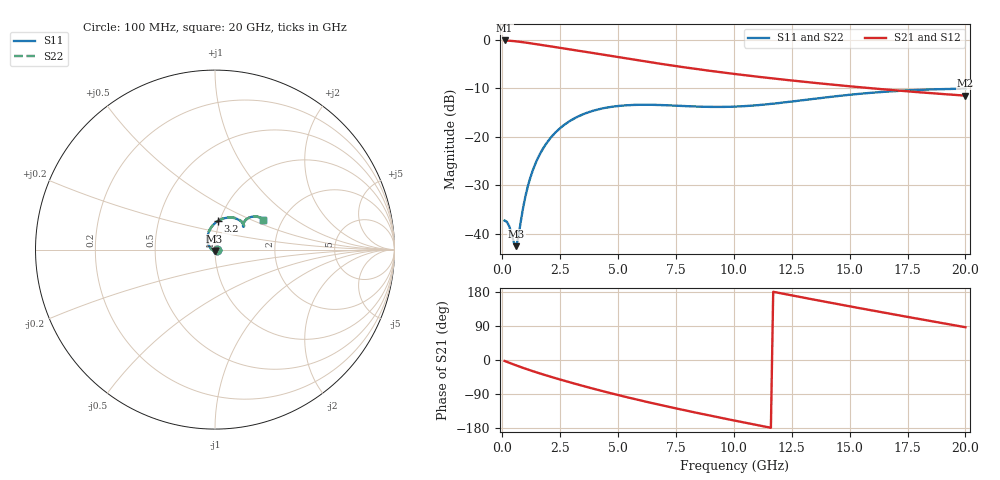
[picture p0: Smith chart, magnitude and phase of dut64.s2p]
! Touchstone file exported from HFSS 2023.1.0
!  File:  D:/Users/fzz/RDL_TSV/temp_RDL_TSV_64_1778746323.aedt
!  Generated:  4:30:09 %x4E0B%x5348  5%x6708 14, 2026
!  Design:  RDL_TSV
!  Project:  temp_RDL_TSV_64_1778746323
!  Setup:  Setup1
!  Solution:  Sweep
! Variables:
!  dtsv = 21.89um
!  hbump = 3um
!  htsv = 52.66um
!  ldown = 647.79um
!  lrdl = 534.51um
!  p = 40
!  p1 = 52.58um
!  rhole = 10um
!  subl = 4081.41um
!  t = 450um
!  tdown = 4.42um
!  trdl = 4.94um
!  viad = 10um
!  wdown = 22.42um
!  wrdl = 23.59um
!  xbump = 18um
# GHz S MA R 50.000000
! Terminal data exported
! Port[1] = TM1_1_T1
! Port[2] = TM1_4_T1
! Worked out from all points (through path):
!   200 points, 100 MHz to 20 GHz, reference 50 ohm
!   highest |S21| = -0.13 dB at 100 MHz (marker M1); lowest = -11.5 dB at 20 GHz (marker M2)
!   group delay of S21, straight-line fit = 36.2 ps
!   lowest |S11| = -42.6 dB at 600 MHz (marker M3), VSWR 1.01, Z = 49.8 - j0.704 ohm
!   |S11| at or under -10 dB: start of sweep to end of sweep
!   |S22| runs from -42.6 to -10.0 dB; largest |S21 - S12| = 1.6e-14
!   S11 on the Smith chart (normalised r, x): 100 MHz: 1.03, -0.00; 3.2 GHz: 0.98, +0.32; 20 GHz: 1.59, +0.59
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0.1  0.01362 -6.2  0.9853 -2.5  0.9853 -2.5  0.01362 -6.2
! Gamma 0 0 0 0
! Port Impedance 50 0 50 0
0.3  0.01192 -27.7  0.9791 -7.3  0.9791 -7.3  0.0119 -27.8
0.5  0.008061 -69.9  0.97 -12.0  0.97 -12.0  0.008019 -70.2
0.6  0.007415 -107.6  0.9645 -14.2  0.9645 -14.2  0.007399 -108.2
0.7  0.009363 -144.5  0.9584 -16.5  0.9584 -16.5  0.009403 -145.1
0.9  0.01854 176.5  0.9449 -20.8  0.9449 -20.8  0.01868 176.2
1  0.02435 165.9  0.9376 -23.0  0.9376 -23.0  0.02453 165.6
1.2  0.0371 150.8  0.9227 -27.1  0.9227 -27.1  0.03736 150.6
1.5  0.05755 134.8  0.8999 -33.1  0.8999 -33.1  0.05793 134.8
1.8  0.07821 122.6  0.8772 -38.8  0.8772 -38.8  0.07871 122.5
2.2  0.1045 109.3  0.8479 -46.2  0.8479 -46.2  0.1052 109.3
3.2  0.1585 84.8  0.7783 -63.7  0.7783 -63.7  0.1596 84.9
3.5  0.1709 79.0  0.7581 -68.7  0.7581 -68.7  0.1721 79.1
4.3  0.1953 66.0  0.7063 -81.7  0.7063 -81.7  0.1968 66.1
5.2  0.2097 54.9  0.6517 -95.5  0.6517 -95.5  0.2114 55.0
6.8  0.2124 42.7  0.5673 -118.3  0.5673 -118.3  0.2144 42.7
8.4  0.2048 38.7  0.4994 -139.4  0.4994 -139.4  0.2067 38.7
10.1  0.2047 40.5  0.4423 -160.7  0.4423 -160.7  0.2065 40.4
11.6  0.218 43.1  0.4016 -178.8  0.4016 -178.8  0.2197 43.0
13.4  0.2452 43.9  0.3613 160.0  0.3613 160.0  0.2468 43.8
16.7  0.2931 38.9  0.3049 122.6  0.3049 122.6  0.2948 38.9
20  0.3129 32.0  0.2656 86.5  0.2656 86.5  0.315 32.1
